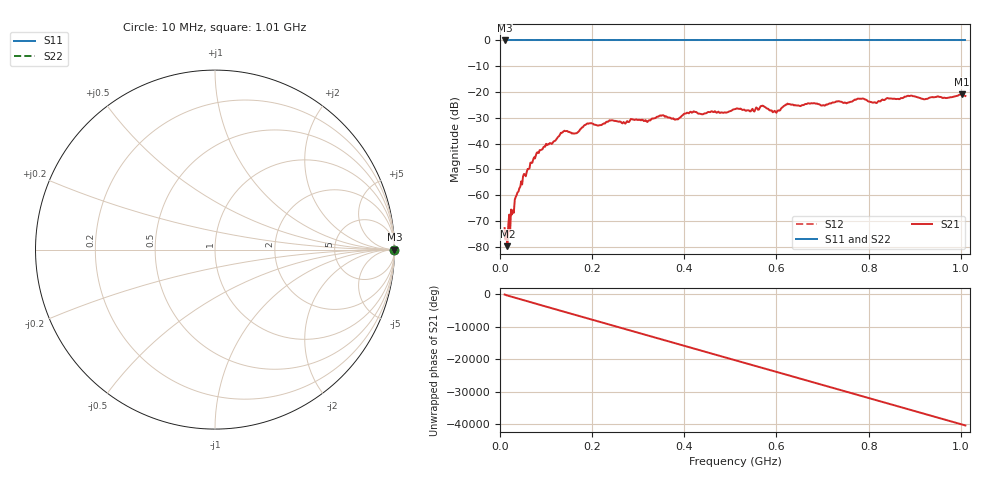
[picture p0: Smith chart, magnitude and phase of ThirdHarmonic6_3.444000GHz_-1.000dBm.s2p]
! 8/17/2025 11:06:38 AM
! C:\ANRITSUVNA\TEMP\TEMP.S2P
! CHANNEL.1
! TR.MEASUREMENT
! RAW.DATA
! RF.CORRECTION.OFF
! AVERAGING.OFF
! IF.BANDWIDTH: 5KHZ
! SWEEPTYPE:  FREQ.SWEEP(Linear)
! Reference Plane Port Info
! PORT:  PORT1  PORT2
! DISTANCE:  0  m  0  m
! TIME:  0  s  0  s
! PHASE.OFFSET:  0  deg.  0  deg.
! LOSS:  0  dB  0  dB
! REF.LOSS:  0  dB  0  dB
! REF.FREQ:  0  Hz  0  Hz
! Power Info
! POWER:  -20  dBm  -20  dBm
! EFF.POWER:  -20  dBm  -20  dBm
! SOURCE.ATTEN:  0  dB  0  dB
! TEST.ATTEN:  0  dB  0  dB
# GHZ S RI R 50.0
! FREQ.GHZ  S11RE  S11IM  S21RE  S21IM  S12RE  S12IM  S22RE  S22IM
!; PortSelection: Port_12
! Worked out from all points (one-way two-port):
!   501 points, 10 MHz to 1.01 GHz, reference 50 ohm
!   highest |S21| = -20.89 dB at 1.002 GHz (marker M1); lowest = -79.8 dB at 16 MHz (marker M2)
!   lowest |S11| = 0.0 dB at 10 MHz (marker M3)
!   |S11| at or under -10 dB: nowhere
!   |S22| runs from 0.0 to 0.0 dB; largest |S21 - S12| = 1.1
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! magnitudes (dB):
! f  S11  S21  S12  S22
! 10 MHz  0.0  -72.8  0.0  0.0
! 12 MHz  0.0  -77.2  0.0  0.0
! 16 MHz  0.0  -79.8  0.0  0.0
! 36 MHz  0.0  -60.0  0.0  0.0
! 50 MHz  0.0  -52.8  0.0  0.0
! 78 MHz  0.0  -44.4  0.0  0.0
! 136 MHz  0.0  -35.6  0.0  0.0
! 164 MHz  0.0  -36.0  0.0  0.0
! 178 MHz  0.0  -33.7  0.0  0.0
! 344 MHz  0.0  -29.6  0.0  0.0
! 382 MHz  0.0  -30.6  0.0  0.0
! 416 MHz  0.0  -28.0  0.0  0.0
! 510 MHz  0.0  -26.6  0.0  0.0
! 570 MHz  0.0  -25.3  0.0  0.0
! 596 MHz  0.0  -27.3  0.0  0.0
! 624 MHz  0.0  -24.5  0.0  0.0
! 678 MHz  0.0  -24.4  0.0  0.0
! 784 MHz  0.0  -22.6  0.0  0.0
! 814 MHz  0.0  -24.0  0.0  0.0
! 844 MHz  0.0  -22.5  0.0  0.0
! 1.002 GHz  0.0  -20.9  0.0  0.0
! 1.01 GHz  0.0  -21.5  0.0  0.0
